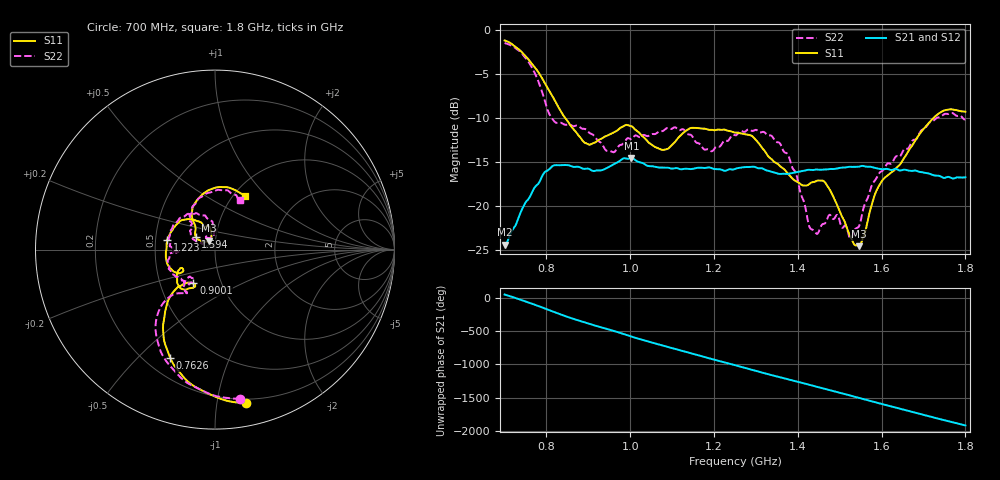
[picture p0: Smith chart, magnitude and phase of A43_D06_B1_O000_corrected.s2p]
! Created with skrf 1.9.0 (http://scikit-rf.org).
# Hz S RI R 50.0
!freq ReS11 ImS11 ReS21 ImS21 ReS12 ImS12 ReS22 ImS22
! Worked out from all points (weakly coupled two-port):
!   1601 points, 700 MHz to 1.8 GHz, reference 50 ohm
!   highest |S21| = -14.57 dB at 1.002 GHz (marker M1); lowest = -24.4 dB at 700 MHz (marker M2)
!   lowest |S11| = -24.6 dB at 1.546 GHz (marker M3), VSWR 1.13, Z = 46.7 + j4.63 ohm
!   |S11| at or under -10 dB: 844.5 MHz to 1.724 GHz (879.7 MHz wide, 68.5 % of centre)
!   |S22| runs from -23.8 to -1.5 dB; largest |S21 - S12| = 0.0035
!   S11 on the Smith chart (normalised r, x): 700 MHz: 0.17, -1.21; 762.6 MHz: 0.30, -0.63; 900.1 MHz: 0.74, -0.29; 1.223 GHz: 0.58, +0.07; 1.594 GHz: 0.80, +0.12; 1.8 GHz: 1.12, +0.76
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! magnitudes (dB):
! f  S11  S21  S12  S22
! 700 MHz  -1.2  -24.4  -24.2  -1.5
! 762.6 MHz  -3.7  -18.8  -18.7  -4.1
! 816.2 MHz  -7.7  -15.4  -15.5  -10.3
! 883.6 MHz  -12.4  -15.7  -15.6  -11.2
! 900.1 MHz  -13.0  -15.8  -15.8  -11.6
! 957.1 MHz  -11.7  -15.4  -15.4  -13.9
! 1.002 GHz  -10.9  -14.6  -14.7  -12.4
! 1.067 GHz  -13.5  -15.6  -15.6  -11.6
! 1.144 GHz  -11.1  -15.8  -15.8  -11.9
! 1.223 GHz  -11.3  -16.0  -16.0  -12.6
! 1.25 GHz  -11.7  -15.8  -15.7  -12.0
! 1.357 GHz  -15.4  -16.4  -16.3  -12.9
! 1.395 GHz  -17.2  -16.2  -16.2  -16.3
! 1.434 GHz  -17.3  -15.9  -15.9  -22.7
! 1.467 GHz  -17.5  -15.9  -15.8  -21.8
! 1.494 GHz  -19.9  -15.8  -15.7  -21.0
! 1.526 GHz  -23.6  -15.6  -15.5  -23.8
! 1.546 GHz  -24.6  -15.5  -15.5  -22.4
! 1.594 GHz  -17.7  -15.8  -15.8  -16.3
! 1.617 GHz  -16.4  -15.9  -15.8  -15.2
! 1.732 GHz  -9.7  -16.6  -16.6  -10.0
! 1.8 GHz  -9.3  -16.7  -16.7  -10.2
